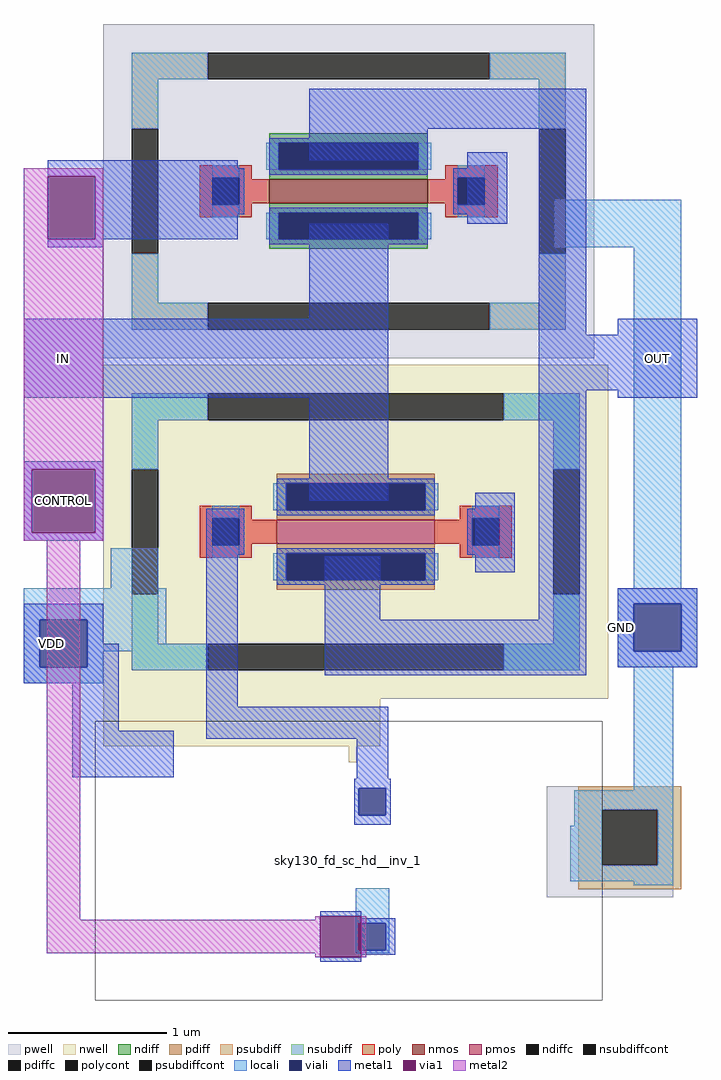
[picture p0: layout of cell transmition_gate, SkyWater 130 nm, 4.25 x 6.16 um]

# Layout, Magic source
magic
tech sky130A
magscale 1 2
<< nwell >>
rect 1100 -1100 1420 -1090
rect 1100 -1160 1450 -1100
rect 1410 -1180 1420 -1160
<< pwell >>
rect 1660 -1350 1820 -1210
<< psubdiff >>
rect 1700 -1240 1830 -1210
rect 1700 -1310 1730 -1240
rect 1800 -1310 1830 -1240
rect 1700 -1340 1830 -1310
<< psubdiffcont >>
rect 1730 -1310 1800 -1240
<< locali >>
rect 1670 -530 1830 -470
rect 1110 -960 1170 -910
rect 1770 -960 1830 -530
rect 1000 -1000 1180 -960
rect 1000 -1060 1020 -1000
rect 1080 -1040 1180 -1000
rect 1750 -980 1850 -960
rect 1750 -1040 1770 -980
rect 1830 -1040 1850 -980
rect 1080 -1060 1100 -1040
rect 1750 -1060 1850 -1040
rect 1000 -1080 1100 -1060
rect 1770 -1215 1820 -1060
rect 1695 -1240 1820 -1215
rect 1695 -1260 1730 -1240
rect 1690 -1310 1730 -1260
rect 1800 -1310 1820 -1240
rect 1690 -1330 1820 -1310
rect 1770 -1335 1820 -1330
rect 1419 -1383 1461 -1339
rect 1419 -1417 1423 -1383
rect 1457 -1417 1461 -1383
rect 1419 -1421 1461 -1417
<< viali >>
rect 1020 -1060 1080 -1000
rect 1770 -1040 1830 -980
rect 1423 -1247 1457 -1213
rect 1423 -1417 1457 -1383
<< metal1 >>
rect 1360 -380 1710 -330
rect 1360 -420 1510 -380
rect 1030 -440 1270 -420
rect 1090 -520 1270 -440
rect 1560 -500 1610 -410
rect 1030 -530 1100 -520
rect 1360 -620 1460 -500
rect 1000 -720 1460 -620
rect 1000 -810 1100 -800
rect 1000 -890 1010 -810
rect 1090 -890 1100 -810
rect 1360 -850 1460 -720
rect 1650 -640 1710 -380
rect 1750 -640 1850 -620
rect 1650 -710 1850 -640
rect 1000 -900 1100 -890
rect 1000 -1000 1100 -980
rect 1000 -1060 1020 -1000
rect 1080 -1030 1100 -1000
rect 1080 -1060 1120 -1030
rect 1000 -1080 1120 -1060
rect 1061 -1140 1120 -1080
rect 1230 -1110 1270 -860
rect 1380 -1000 1450 -920
rect 1570 -940 1620 -840
rect 1650 -1000 1710 -710
rect 1750 -720 1850 -710
rect 1380 -1070 1710 -1000
rect 1750 -980 1850 -960
rect 1750 -1040 1770 -980
rect 1830 -1040 1850 -980
rect 1750 -1060 1850 -1040
rect 1061 -1199 1189 -1140
rect 1230 -1150 1460 -1110
rect 1420 -1201 1460 -1150
rect 1417 -1213 1463 -1201
rect 1417 -1247 1423 -1213
rect 1457 -1247 1463 -1213
rect 1417 -1259 1463 -1247
rect 1374 -1374 1426 -1368
rect 1426 -1383 1469 -1377
rect 1457 -1417 1469 -1383
rect 1426 -1423 1469 -1417
rect 1374 -1432 1426 -1426
<< via1 >>
rect 1030 -520 1090 -440
rect 1010 -890 1090 -810
rect 1374 -1383 1426 -1374
rect 1374 -1417 1423 -1383
rect 1423 -1417 1426 -1383
rect 1374 -1426 1426 -1417
<< metal2 >>
rect 1000 -440 1100 -430
rect 1000 -520 1030 -440
rect 1090 -520 1100 -440
rect 1000 -810 1100 -520
rect 1000 -890 1010 -810
rect 1090 -890 1100 -810
rect 1000 -900 1100 -890
rect 1029 -1379 1071 -900
rect 1368 -1379 1374 -1374
rect 1029 -1421 1374 -1379
rect 1368 -1426 1374 -1421
rect 1426 -1426 1432 -1374
use sky130_fd_sc_hd__inv_1  x1 $PDKPATH/libs.ref/sky130_fd_sc_hd/mag
transform 0 -1 1682 1 0 -1442
box -38 -48 314 592
use sky130_fd_pr__pfet_01v8_7HN6Y2  XM2
transform 0 1 1419 -1 0 -889
box -211 -319 211 319
use sky130_fd_pr__nfet_01v8_34VMYE  XM3
transform 0 1 1410 -1 0 -459
box -211 -310 211 310
<< labels >>
flabel metal1 1000 -720 1100 -620 0 FreeSans 160 0 0 0 IN
port 2 nsew
flabel metal1 1000 -900 1100 -800 0 FreeSans 160 0 0 0 CONTROL
port 0 nsew
flabel metal1 1750 -720 1850 -620 0 FreeSans 160 0 0 0 OUT
port 1 nsew
flabel metal1 1750 -1060 1760 -960 0 FreeSans 160 0 0 0 GND
port 4 nsew
flabel metal1 1000 -1080 1070 -980 0 FreeSans 160 0 0 0 VDD
port 3 nsew
<< end >>

# cell sky130_fd_pr__pfet_01v8_7HN6Y2: kit device sky130_fd_pr__pfet_01v8, w 1.0 l 0.15 m 1 nf 1 diffcov 100 polycov 100 guard 1 glc 1 grc 1 gtc 1 gbc 1 tbcov 100 rlcov 100 topc 1 botc 1 poverlap 0 doverlap 1 lmin 0.15 wmin 0.42 class mosfet compatible {sky130_fd_pr__pfet_01v8 sky130_fd_pr__pfet_01v8_lvt sky130_fd_pr__pfet_01v8_hvt sky130_fd_pr__pfet_g5v0d10v5} full_metal 1 conn_gates 0 viasrc 100 viadrn 100 viagate 100 viagb 0 viagr 0 viagl 0 viagt 0 doports 1

# cell sky130_fd_pr__nfet_01v8_34VMYE: kit device sky130_fd_pr__nfet_01v8, w 1.0 l 0.15 m 1 nf 1 diffcov 100 polycov 100 guard 1 glc 1 grc 1 gtc 1 gbc 1 tbcov 100 rlcov 100 topc 1 botc 1 poverlap 0 doverlap 1 lmin 0.15 wmin 0.42 class mosfet compatible {sky130_fd_pr__nfet_01v8 sky130_fd_pr__nfet_01v8_lvt sky130_fd_bs_flash__special_sonosfet_star sky130_fd_pr__nfet_g5v0d10v5 sky130_fd_pr__nfet_05v0_nvt sky130_fd_pr__nfet_03v3_nvt} full_metal 1 conn_gates 0 viasrc 100 viadrn 100 viagate 100 viagb 0 viagr 0 viagl 0 viagt 0 doports 1
